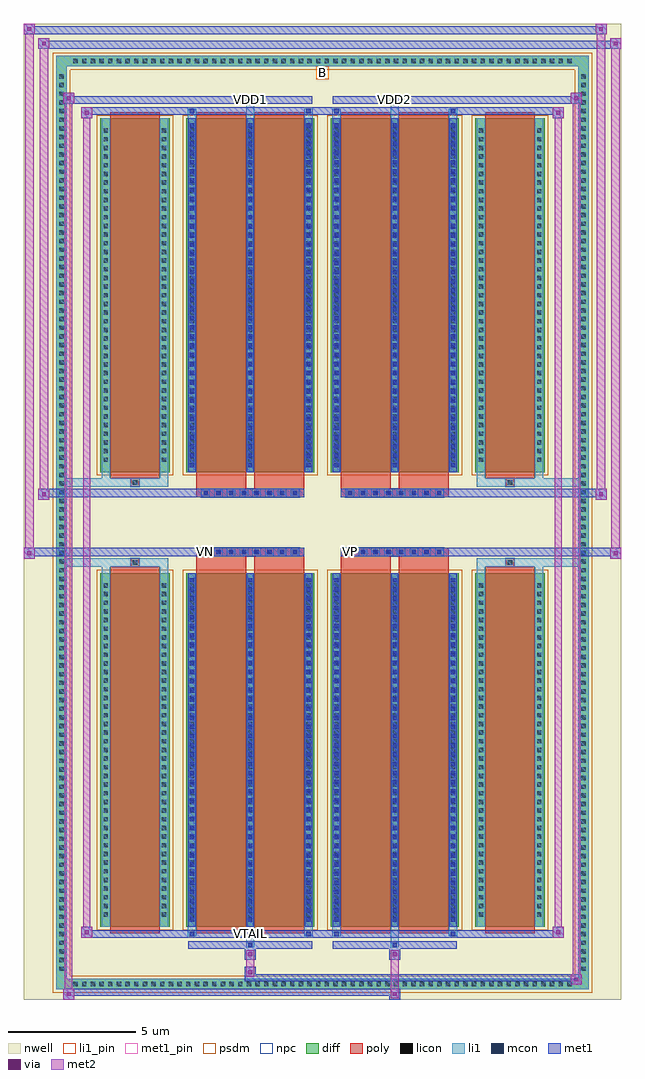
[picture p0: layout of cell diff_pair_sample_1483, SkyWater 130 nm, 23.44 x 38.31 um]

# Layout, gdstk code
import gdstk
lib = gdstk.Library(unit=1e-6, precision=5e-09)
def R(c, l, rs):  # rectangles x0, y0, x1, y1
    for r in rs: c.add(gdstk.rectangle(r[:2], r[2:], *l))
def A(c, l, x, y, w, h, nx, ny, dx, dy):  # array of equal rectangles
    R(c, l, [(x+i*dx, y+j*dy, x+i*dx+w, y+j*dy+h) for i in range(nx) for j in range(ny)])
def P(c, l, *ps):  # polygons
    for p in ps: c.add(gdstk.Polygon(p, *l))
nwell = (64, 20)
diff = (65, 20)
poly = (66, 20)
licon = (66, 44)
li1_pin = (67, 16)
li1 = (67, 20)
mcon = (67, 44)
met1_pin = (68, 16)
met1 = (68, 20)
via = (68, 44)
met2 = (69, 20)
psdm = (94, 20)
npc = (95, 20)

diff_pair_sample_1483 = lib.new_cell('diff_pair_sample_1483')
R(diff_pair_sample_1483, nwell, [(-11.72,-18.72,11.72,19.59), (-9.04,-16.91,-0.01,-0.795), (0.01,-16.91,9.04,-0.795), (-9.04,0.795,-0.01,16.91), (0.01,0.795,9.04,16.91)])
A(diff_pair_sample_1483, diff, -9.895, -18.32, 0.41, 0.41, 58, 2, 0.34, 36.23)
A(diff_pair_sample_1483, diff, -10.45, -17.715, 0.41, 0.41, 1, 104, 0, 0.34)
A(diff_pair_sample_1483, diff, 10.04, -17.715, 0.41, 0.41, 1, 104, 0, 0.34)
R(diff_pair_sample_1483, diff, [(-9.895,-18.32,9.895,-17.91), (-10.45,-17.715,-10.04,17.715), (10.04,-17.715,10.45,17.715), (-8.73,-15.865,-5.99,-1.985), (-5.35,-15.865,-0.32,-1.985), (0.32,-15.865,5.35,-1.985), (5.99,-15.865,8.73,-1.985), (-8.73,1.985,-5.99,15.865), (-5.35,1.985,-0.32,15.865), (0.32,1.985,5.35,15.865), (5.99,1.985,8.73,15.865), (-9.895,17.91,9.895,18.32)])
P(diff_pair_sample_1483, diff, [(10.45,18.32),(-10.45,18.32),(-10.45,-17.91),(-10.04,-17.91),(-10.04,17.91),(10.04,17.91),(10.04,-17.91),(-10.04,-17.91),(-10.45,-17.91),(-10.45,-18.32),(10.45,-18.32)])
A(diff_pair_sample_1483, poly, -4.75, -1.325, 0.33, 0.33, 8, 2, 0.5, 2.32)
A(diff_pair_sample_1483, poly, 0.92, -1.325, 0.33, 0.33, 8, 2, 0.5, 2.32)
R(diff_pair_sample_1483, poly, [(-8.34,-16.115,-6.38,-1.735), (-4.96,-16.115,-3,-1.735), (-2.67,-16.115,-0.71,-1.735), (0.71,-16.115,2.67,-1.735), (3,-16.115,4.96,-1.735), (6.38,-16.115,8.34,-1.735), (-7.525,-1.735,-7.195,-1.405), (-7.525,-1.735,-7.195,-1.405), (-4.96,-1.735,-3,-1.325), (-2.67,-1.735,-0.71,-1.325), (0.71,-1.735,2.67,-1.325), (3,-1.735,4.96,-1.325), (7.195,-1.735,7.525,-1.405), (7.195,-1.735,7.525,-1.405), (-4.96,-1.325,-0.71,-0.995), (0.71,-1.325,4.96,-0.995), (-4.96,0.995,-0.71,1.325), (0.71,0.995,4.96,1.325), (-4.96,1.325,-3,1.735), (-2.67,1.325,-0.71,1.735), (0.71,1.325,2.67,1.735), (3,1.325,4.96,1.735), (-7.525,1.405,-7.195,1.735), (-7.525,1.405,-7.195,1.735), (7.195,1.405,7.525,1.735), (7.195,1.405,7.525,1.735), (-8.34,1.735,-6.38,16.115), (-4.96,1.735,-3,16.115), (-2.67,1.735,-0.71,16.115), (0.71,1.735,2.67,16.115), (3,1.735,4.96,16.115), (6.38,1.735,8.34,16.115)])
A(diff_pair_sample_1483, licon, -9.775, -18.2, 0.17, 0.17, 58, 2, 0.34, 36.23)
A(diff_pair_sample_1483, licon, -10.33, -17.595, 0.17, 0.17, 1, 104, 0, 0.34)
A(diff_pair_sample_1483, licon, 10.16, -17.595, 0.17, 0.17, 1, 104, 0, 0.34)
A(diff_pair_sample_1483, licon, -8.59, -15.47, 0.17, 0.17, 1, 39, 0, 0.34)
A(diff_pair_sample_1483, licon, -6.3, -15.47, 0.17, 0.17, 1, 39, 0, 0.34)
A(diff_pair_sample_1483, licon, -5.21, -15.47, 0.17, 0.17, 3, 39, 2.29, 0.34)
A(diff_pair_sample_1483, licon, 0.46, -15.47, 0.17, 0.17, 3, 39, 2.29, 0.34)
A(diff_pair_sample_1483, licon, 6.13, -15.47, 0.17, 0.17, 1, 39, 0, 0.34)
A(diff_pair_sample_1483, licon, 8.42, -15.47, 0.17, 0.17, 1, 39, 0, 0.34)
A(diff_pair_sample_1483, licon, -4.67, -1.245, 0.17, 0.17, 8, 2, 0.5, 2.32)
A(diff_pair_sample_1483, licon, 1, -1.245, 0.17, 0.17, 8, 2, 0.5, 2.32)
A(diff_pair_sample_1483, licon, -8.59, 2.38, 0.17, 0.17, 1, 39, 0, 0.34)
A(diff_pair_sample_1483, licon, -6.3, 2.38, 0.17, 0.17, 1, 39, 0, 0.34)
A(diff_pair_sample_1483, licon, -5.21, 2.38, 0.17, 0.17, 3, 39, 2.29, 0.34)
A(diff_pair_sample_1483, licon, 0.46, 2.38, 0.17, 0.17, 3, 39, 2.29, 0.34)
A(diff_pair_sample_1483, licon, 6.13, 2.38, 0.17, 0.17, 1, 39, 0, 0.34)
A(diff_pair_sample_1483, licon, 8.42, 2.38, 0.17, 0.17, 1, 39, 0, 0.34)
R(diff_pair_sample_1483, licon, [(-7.445,-1.655,-7.275,-1.485), (7.275,-1.655,7.445,-1.485), (-7.445,1.485,-7.275,1.655), (7.275,1.485,7.445,1.655)])
R(diff_pair_sample_1483, li1_pin, [(-0.25,17.41,0.25,17.91)])
A(diff_pair_sample_1483, li1, -9.855, -18.28, 0.33, 0.33, 58, 2, 0.34, 36.23)
A(diff_pair_sample_1483, li1, -10.41, -17.675, 0.33, 0.33, 1, 104, 0, 0.34)
A(diff_pair_sample_1483, li1, 10.08, -17.675, 0.33, 0.33, 1, 104, 0, 0.34)
A(diff_pair_sample_1483, li1, -5.29, -15.865, 0.33, 13.88, 3, 2, 2.29, 17.85)
A(diff_pair_sample_1483, li1, 0.38, -15.865, 0.33, 13.88, 3, 2, 2.29, 17.85)
A(diff_pair_sample_1483, li1, -5.21, -15.67, 0.17, 0.17, 3, 38, 2.29, 0.36)
A(diff_pair_sample_1483, li1, -5.21, -15.67, 0.17, 13.49, 3, 2, 2.29, 17.85)
A(diff_pair_sample_1483, li1, 0.46, -15.67, 0.17, 0.17, 3, 38, 2.29, 0.36)
A(diff_pair_sample_1483, li1, 0.46, -15.67, 0.17, 13.49, 3, 2, 2.29, 17.85)
A(diff_pair_sample_1483, li1, -8.67, -15.55, 0.33, 0.33, 1, 39, 0, 0.34)
A(diff_pair_sample_1483, li1, -6.38, -15.55, 0.33, 0.33, 1, 39, 0, 0.34)
A(diff_pair_sample_1483, li1, -5.29, -15.55, 0.33, 0.33, 3, 39, 2.29, 0.34)
A(diff_pair_sample_1483, li1, 0.38, -15.55, 0.33, 0.33, 3, 39, 2.29, 0.34)
A(diff_pair_sample_1483, li1, 6.05, -15.55, 0.33, 0.33, 1, 39, 0, 0.34)
A(diff_pair_sample_1483, li1, 8.34, -15.55, 0.33, 0.33, 1, 39, 0, 0.34)
A(diff_pair_sample_1483, li1, -4.75, -1.325, 0.33, 0.33, 8, 2, 0.5, 2.32)
A(diff_pair_sample_1483, li1, 0.92, -1.325, 0.33, 0.33, 8, 2, 0.5, 2.32)
A(diff_pair_sample_1483, li1, -5.21, 2.18, 0.17, 0.17, 3, 38, 2.29, 0.36)
A(diff_pair_sample_1483, li1, 0.46, 2.18, 0.17, 0.17, 3, 38, 2.29, 0.36)
A(diff_pair_sample_1483, li1, -8.67, 2.3, 0.33, 0.33, 1, 39, 0, 0.34)
A(diff_pair_sample_1483, li1, -6.38, 2.3, 0.33, 0.33, 1, 39, 0, 0.34)
A(diff_pair_sample_1483, li1, -5.29, 2.3, 0.33, 0.33, 3, 39, 2.29, 0.34)
A(diff_pair_sample_1483, li1, 0.38, 2.3, 0.33, 0.33, 3, 39, 2.29, 0.34)
A(diff_pair_sample_1483, li1, 6.05, 2.3, 0.33, 0.33, 1, 39, 0, 0.34)
A(diff_pair_sample_1483, li1, 8.34, 2.3, 0.33, 0.33, 1, 39, 0, 0.34)
R(diff_pair_sample_1483, li1, [(-10.45,-18.32,-10.04,-17.91), (-10.45,-18.32,-10.04,-17.91), (-10.04,-18.32,10.04,-17.91), (10.04,-18.32,10.45,-17.91), (10.04,-18.32,10.45,-17.91), (-10.45,-17.91,-10.04,17.91), (10.04,-17.91,10.45,17.91), (-3,-16.67,-2.67,-15.865), (-2.92,-16.67,-2.75,-16.5), (2.67,-16.67,3,-15.865), (2.75,-16.67,2.92,-16.5), (-5.29,-16.24,-4.96,-15.865), (-5.21,-16.24,-5.04,-16.07), (-0.71,-16.24,-0.38,-15.865), (-0.63,-16.24,-0.46,-16.07), (0.38,-16.24,0.71,-15.865), (0.46,-16.24,0.63,-16.07), (4.96,-16.24,5.29,-15.865), (5.04,-16.24,5.21,-16.07), (-8.67,-15.865,-8.34,-1.985), (-6.38,-15.865,-6.05,-1.985), (6.05,-15.865,6.38,-1.985), (8.34,-15.865,8.67,-1.985), (-8.67,-1.985,-8.34,-1.405), (-6.38,-1.985,-6.05,-1.405), (6.05,-1.985,6.38,-1.405), (8.34,-1.985,8.67,-1.405), (-10.45,-1.735,-7.525,-1.405), (-8.67,-1.735,-7.525,-1.405), (-7.525,-1.735,-7.195,-1.405), (-7.195,-1.735,-6.05,-1.405), (6.05,-1.735,7.195,-1.405), (7.195,-1.735,7.525,-1.405), (7.195,-1.735,10.45,-1.405), (7.525,-1.735,8.67,-1.405), (-10.45,1.405,-7.525,1.735), (-8.67,1.405,-7.525,1.735), (-8.67,1.405,-8.34,1.985), (-7.525,1.405,-7.195,1.735), (-7.195,1.405,-6.05,1.735), (-6.38,1.405,-6.05,1.985), (6.05,1.405,7.195,1.735), (6.05,1.405,6.38,1.985), (7.195,1.405,7.525,1.735), (7.195,1.405,10.45,1.735), (7.525,1.405,8.67,1.735), (8.34,1.405,8.67,1.985), (-8.67,1.985,-8.34,15.865), (-6.38,1.985,-6.05,15.865), (6.05,1.985,6.38,15.865), (8.34,1.985,8.67,15.865), (-5.29,15.865,-4.96,16.24), (-3,15.865,-2.67,16.67), (-0.71,15.865,-0.38,16.24), (0.38,15.865,0.71,16.24), (2.67,15.865,3,16.67), (4.96,15.865,5.29,16.24), (-5.21,16.07,-5.04,16.24), (-0.63,16.07,-0.46,16.24), (0.46,16.07,0.63,16.24), (5.04,16.07,5.21,16.24), (-2.92,16.5,-2.75,16.67), (2.75,16.5,2.92,16.67), (-10.45,17.91,-10.04,18.32), (-10.45,17.91,-10.04,18.32), (-10.04,17.91,10.04,18.32), (10.04,17.91,10.45,18.32), (10.04,17.91,10.45,18.32)])
A(diff_pair_sample_1483, mcon, -5.21, -15.67, 0.17, 0.17, 3, 38, 2.29, 0.36)
A(diff_pair_sample_1483, mcon, 0.46, -15.67, 0.17, 0.17, 3, 38, 2.29, 0.36)
A(diff_pair_sample_1483, mcon, -4.67, -1.245, 0.17, 0.17, 8, 2, 0.5, 2.32)
A(diff_pair_sample_1483, mcon, 1, -1.245, 0.17, 0.17, 8, 2, 0.5, 2.32)
A(diff_pair_sample_1483, mcon, -5.21, 2.18, 0.17, 0.17, 3, 38, 2.29, 0.36)
A(diff_pair_sample_1483, mcon, 0.46, 2.18, 0.17, 0.17, 3, 38, 2.29, 0.36)
R(diff_pair_sample_1483, mcon, [(-2.92,-16.67,-2.75,-16.5), (2.75,-16.67,2.92,-16.5), (-5.21,-16.24,-5.04,-16.07), (-0.63,-16.24,-0.46,-16.07), (0.46,-16.24,0.63,-16.07), (5.04,-16.24,5.21,-16.07), (-5.21,16.07,-5.04,16.24), (-0.63,16.07,-0.46,16.24), (0.46,16.07,0.63,16.24), (5.04,16.07,5.21,16.24), (-2.92,16.5,-2.75,16.67), (2.75,16.5,2.92,16.67)])
R(diff_pair_sample_1483, met1_pin, [(-2.97,-16.28,-2.7,-16.01), (-4.72,-1.285,-4.45,-1.015), (0.95,-1.285,1.22,-1.015), (-2.97,16.46,-2.7,16.73), (2.7,16.46,2.97,16.73)])
A(diff_pair_sample_1483, met1, -5.27, -15.865, 0.29, 13.88, 3, 2, 2.29, 17.85)
A(diff_pair_sample_1483, met1, 0.4, -15.865, 0.29, 13.88, 3, 2, 2.29, 17.85)
A(diff_pair_sample_1483, met1, -5.27, -15.73, 0.29, 0.29, 3, 38, 2.29, 0.36)
A(diff_pair_sample_1483, met1, 0.4, -15.73, 0.29, 0.29, 3, 38, 2.29, 0.36)
A(diff_pair_sample_1483, met1, -4.73, -1.305, 0.29, 0.29, 8, 2, 0.5, 2.32)
A(diff_pair_sample_1483, met1, 0.94, -1.305, 0.29, 0.29, 8, 2, 0.5, 2.32)
A(diff_pair_sample_1483, met1, -5.27, 2.12, 0.29, 0.29, 3, 38, 2.29, 0.36)
A(diff_pair_sample_1483, met1, 0.4, 2.12, 0.29, 0.29, 3, 38, 2.29, 0.36)
R(diff_pair_sample_1483, met1, [(-10.18,-18.72,-9.75,-18.29), (2.62,-18.72,3.05,-18.29), (-10.18,-18.58,3.05,-18.29), (9.75,-18.15,10.18,-17.72), (-3.05,-18.01,10.18,-17.72), (-3.05,-17.87,-2.62,-17.44), (-3.05,-17.16,-2.62,-16.73), (2.62,-17.16,3.05,-16.73), (-5.27,-16.73,-0.4,-16.44), (-2.98,-16.73,-2.69,-16.44), (0.4,-16.73,5.27,-16.44), (2.69,-16.73,2.98,-16.44), (-9.47,-16.3,-9.04,-15.87), (-9.47,-16.3,-5.27,-16.01), (-5.27,-16.3,-4.98,-16.01), (-5.27,-16.3,-0.4,-16.01), (-0.69,-16.3,-0.4,-16.01), (-0.4,-16.3,0.4,-16.01), (0.4,-16.3,0.69,-16.01), (0.4,-16.3,5.27,-16.01), (4.98,-16.3,5.27,-16.01), (5.27,-16.3,9.47,-16.01), (9.04,-16.3,9.47,-15.87), (-11.72,-1.425,-11.29,-0.995), (11.29,-1.425,11.72,-0.995), (-11.72,-1.325,-0.71,-0.995), (-4.96,-1.325,-0.71,-0.995), (0.71,-1.325,4.96,-0.995), (0.71,-1.325,11.72,-0.995), (-11.15,0.895,-10.72,1.325), (10.72,0.895,11.15,1.325), (-11.15,0.995,-4.96,1.325), (-4.96,0.995,-0.71,1.325), (0.71,0.995,4.96,1.325), (4.96,0.995,11.15,1.325), (-9.47,15.87,-9.04,16.3), (9.04,15.87,9.47,16.3), (-9.47,16.01,-5.27,16.3), (-5.27,16.01,-4.98,16.3), (-5.27,16.01,-0.4,16.3), (-0.69,16.01,-0.4,16.3), (-0.4,16.01,0.4,16.3), (0.4,16.01,0.69,16.3), (0.4,16.01,5.27,16.3), (4.98,16.01,5.27,16.3), (5.27,16.01,9.47,16.3), (-10.18,16.44,-9.75,16.87), (-10.18,16.44,-5.27,16.73), (-5.27,16.44,-0.4,16.73), (-2.98,16.44,-2.69,16.73), (0.4,16.44,5.27,16.73), (2.69,16.44,2.98,16.73), (5.27,16.44,10.18,16.73), (9.75,16.44,10.18,16.87), (-11.15,18.59,-10.72,19.02), (-11.15,18.59,-9.04,18.92), (-9.04,18.59,9.04,18.92), (9.04,18.59,11.72,18.92), (11.29,18.59,11.72,19.02), (-11.72,19.16,-11.29,19.59), (-11.72,19.16,-9.04,19.49), (-9.04,19.16,9.04,19.49), (9.04,19.16,11.15,19.49), (10.72,19.16,11.15,19.59)])
R(diff_pair_sample_1483, via, [(-10.04,-18.58,-9.89,-18.43), (2.76,-18.58,2.91,-18.43), (9.89,-18.01,10.04,-17.86), (-2.91,-17.73,-2.76,-17.58), (-2.91,-17.02,-2.76,-16.87), (2.76,-17.02,2.91,-16.87), (-9.33,-16.16,-9.18,-16.01), (9.18,-16.16,9.33,-16.01), (-11.58,-1.285,-11.43,-1.135), (11.43,-1.285,11.58,-1.135), (-11.01,1.035,-10.86,1.185), (10.86,1.035,11.01,1.185), (-9.33,16.01,-9.18,16.16), (9.18,16.01,9.33,16.16), (-10.04,16.58,-9.89,16.73), (9.89,16.58,10.04,16.73), (-11.01,18.73,-10.86,18.88), (11.43,18.73,11.58,18.88), (-11.58,19.3,-11.43,19.45), (10.86,19.3,11.01,19.45)])
R(diff_pair_sample_1483, met2, [(-10.18,-18.72,-9.75,-18.29), (-10.11,-18.72,-9.82,16.87), (-9.82,-18.72,-9.75,-18.29), (-10.13,-18.67,-9.8,-18.34), (2.67,-18.67,3,-18.34), (2.67,-18.34,3,-17.11), (9.75,-18.15,10.18,-17.72), (9.82,-18.15,10.11,16.87), (10.11,-18.15,10.18,-17.72), (9.8,-18.1,10.13,-17.77), (-3,-17.82,-2.67,-17.49), (-3,-17.49,-2.67,-17.11), (-3,-17.11,-2.67,-16.78), (2.67,-17.11,3,-16.78), (-9.47,-16.3,-9.04,-15.87), (-9.4,-16.3,-9.11,16.3), (-9.11,-16.3,-9.04,-15.87), (9.04,-16.3,9.47,-15.87), (9.11,-16.3,9.4,16.3), (9.4,-16.3,9.47,-15.87), (-9.42,-16.25,-9.09,-15.92), (9.09,-16.25,9.42,-15.92), (-11.72,-1.425,-11.29,-0.995), (-11.67,-1.425,-11.34,19.59), (-11.34,-1.425,-11.29,-0.995), (11.29,-1.425,11.72,-0.995), (11.34,-1.425,11.67,19.02), (11.67,-1.425,11.72,-0.995), (-11.67,-1.375,-11.34,-1.045), (11.34,-1.375,11.67,-1.045), (-11.15,0.895,-10.72,1.325), (-11.1,0.895,-10.77,19.02), (-10.77,0.895,-10.72,1.325), (10.72,0.895,11.15,1.325), (10.77,0.895,11.1,19.59), (11.1,0.895,11.15,1.325), (-11.1,0.945,-10.77,1.275), (10.77,0.945,11.1,1.275), (-9.47,15.87,-9.04,16.3), (-9.11,15.87,-9.04,16.3), (9.04,15.87,9.47,16.3), (9.4,15.87,9.47,16.3), (-9.42,15.92,-9.09,16.25), (9.09,15.92,9.42,16.25), (-10.18,16.44,-9.75,16.87), (-9.82,16.44,-9.75,16.87), (9.75,16.44,10.18,16.87), (10.11,16.44,10.18,16.87), (-10.13,16.49,-9.8,16.82), (9.8,16.49,10.13,16.82), (-11.15,18.59,-10.72,19.02), (-10.77,18.59,-10.72,19.02), (11.29,18.59,11.72,19.02), (11.67,18.59,11.72,19.02), (-11.1,18.64,-10.77,18.97), (11.34,18.64,11.67,18.97), (-11.72,19.16,-11.29,19.59), (-11.34,19.16,-11.29,19.59), (10.72,19.16,11.15,19.59), (11.1,19.16,11.15,19.59), (-11.67,19.21,-11.34,19.54), (10.77,19.21,11.1,19.54)])
R(diff_pair_sample_1483, psdm, [(-8.86,-15.995,-5.86,-1.855), (-5.48,-15.995,-0.19,-1.855), (0.19,-15.995,5.48,-1.855), (5.86,-15.995,8.86,-1.855), (-8.86,1.855,-5.86,15.995), (-5.48,1.855,-0.19,15.995), (0.19,1.855,5.48,15.995), (5.86,1.855,8.86,15.995)])
P(diff_pair_sample_1483, psdm, [(10.58,18.45),(-10.58,18.45),(-10.58,-17.78),(-9.91,-17.78),(-9.91,17.78),(9.91,17.78),(9.91,-17.78),(-9.91,-17.78),(-10.58,-17.78),(-10.58,-18.45),(10.58,-18.45)])
A(diff_pair_sample_1483, npc, -4.77, -1.345, 0.37, 0.37, 8, 2, 0.5, 2.32)
A(diff_pair_sample_1483, npc, 0.9, -1.345, 0.37, 0.37, 8, 2, 0.5, 2.32)
R(diff_pair_sample_1483, npc, [(-7.545,-1.755,-7.175,-1.385), (7.175,-1.755,7.545,-1.385), (-4.77,-1.345,-3.9,-0.975), (-4.77,-1.345,-3.9,-0.975), (-4.27,-1.345,-3.4,-0.975), (-4.27,-1.345,-3.4,-0.975), (-3.77,-1.345,-2.9,-0.975), (-3.77,-1.345,-2.9,-0.975), (-3.27,-1.345,-2.4,-0.975), (-3.27,-1.345,-2.4,-0.975), (-2.77,-1.345,-1.9,-0.975), (-2.77,-1.345,-1.9,-0.975), (-2.27,-1.345,-1.4,-0.975), (-2.27,-1.345,-1.4,-0.975), (-1.77,-1.345,-0.9,-0.975), (-1.77,-1.345,-0.9,-0.975), (0.9,-1.345,1.77,-0.975), (0.9,-1.345,1.77,-0.975), (1.4,-1.345,2.27,-0.975), (1.4,-1.345,2.27,-0.975), (1.9,-1.345,2.77,-0.975), (1.9,-1.345,2.77,-0.975), (2.4,-1.345,3.27,-0.975), (2.4,-1.345,3.27,-0.975), (2.9,-1.345,3.77,-0.975), (2.9,-1.345,3.77,-0.975), (3.4,-1.345,4.27,-0.975), (3.4,-1.345,4.27,-0.975), (3.9,-1.345,4.77,-0.975), (3.9,-1.345,4.77,-0.975), (-4.77,0.975,-3.9,1.345), (-4.77,0.975,-3.9,1.345), (-4.27,0.975,-3.4,1.345), (-4.27,0.975,-3.4,1.345), (-3.77,0.975,-2.9,1.345), (-3.77,0.975,-2.9,1.345), (-3.27,0.975,-2.4,1.345), (-3.27,0.975,-2.4,1.345), (-2.77,0.975,-1.9,1.345), (-2.77,0.975,-1.9,1.345), (-2.27,0.975,-1.4,1.345), (-2.27,0.975,-1.4,1.345), (-1.77,0.975,-0.9,1.345), (-1.77,0.975,-0.9,1.345), (0.9,0.975,1.77,1.345), (0.9,0.975,1.77,1.345), (1.4,0.975,2.27,1.345), (1.4,0.975,2.27,1.345), (1.9,0.975,2.77,1.345), (1.9,0.975,2.77,1.345), (2.4,0.975,3.27,1.345), (2.4,0.975,3.27,1.345), (2.9,0.975,3.77,1.345), (2.9,0.975,3.77,1.345), (3.4,0.975,4.27,1.345), (3.4,0.975,4.27,1.345), (3.9,0.975,4.77,1.345), (3.9,0.975,4.77,1.345), (-7.545,1.385,-7.175,1.755), (7.175,1.385,7.545,1.755)])
diff_pair_sample_1483.add(gdstk.Label('VTAIL', (-2.835,-16.145), layer=68, texttype=5))
diff_pair_sample_1483.add(gdstk.Label('VN', (-4.585,-1.15), layer=68, texttype=5))
diff_pair_sample_1483.add(gdstk.Label('VP', (1.085,-1.15), layer=68, texttype=5))
diff_pair_sample_1483.add(gdstk.Label('B', (0,17.66), layer=67, texttype=5))
diff_pair_sample_1483.add(gdstk.Label('VDD2', (2.835,16.595), layer=68, texttype=5))
diff_pair_sample_1483.add(gdstk.Label('VDD1', (-2.835,16.595), layer=68, texttype=5))

lib.write_gds('diff_pair_sample_1483.gds')
